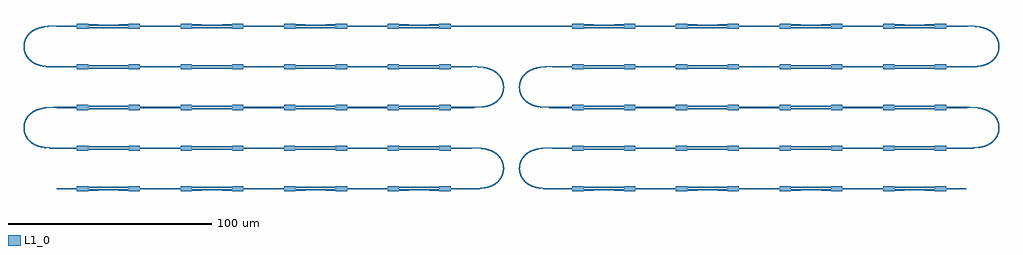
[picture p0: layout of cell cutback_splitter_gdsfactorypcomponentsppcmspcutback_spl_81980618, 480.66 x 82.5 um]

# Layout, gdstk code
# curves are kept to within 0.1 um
from math import pi, radians
import gdstk
lib = gdstk.Library(unit=1e-6, precision=1e-09)
def R(c, l, rs):  # rectangles x0, y0, x1, y1
    for r in rs: c.add(gdstk.rectangle(r[:2], r[2:], *l))
def P(c, l, *ps):  # polygons
    for p in ps: c.add(gdstk.Polygon(p, *l))
L1_0 = (1, 0)

mmi1x2_gdsfactorypcompon = lib.new_cell('mmi1x2_gdsfactorypcomponentspmmispmmi1x2_WNone_WT1_LT10_1f097353')
P(mmi1x2_gdsfactorypcompon, L1_0, [(0,-1.25),(0,-0.5),(-10,-0.25),(-10,0.25),(0,0.5),(0,1.25),(5.5,1.25),(5.5,1.125),(15.5,0.875),(15.5,0.375),(5.5,0.125),(5.5,-0.125),(15.5,-0.375),(15.5,-0.875),(5.5,-1.125),(5.5,-1.25)])

bend_euler_gdsfactorypco = lib.new_cell('bend_euler_gdsfactorypcomponentspbendspbend_euler_RNone_4bc9c422')
P(bend_euler_gdsfactorypco, L1_0, [(0,-0.25),(0,0.25),(4.503,0.368),(6.214,0.563),(7.73,0.858),(9.845,1.539),(11.655,2.481),(12.614,3.182),(13.475,3.996),(14.121,4.779),(14.755,5.779),(15.188,6.697),(15.556,7.822),(15.77,8.987),(15.828,10),(15.77,11.013),(15.556,12.178),(15.188,13.303),(14.755,14.221),(14.121,15.221),(13.475,16.004),(12.614,16.818),(11.655,17.519),(9.845,18.461),(7.73,19.142),(6.214,19.437),(4.503,19.632),(0,19.75),(0,20.25),(4.192,20.156),(7.158,19.779),(8.531,19.447),(9.707,19.055),(10.844,18.555),(12.075,17.842),(13.594,16.602),(14.73,15.224),(15.583,13.655),(16.122,11.953),(16.267,11.071),(16.328,10),(16.157,8.222),(15.893,7.183),(15.583,6.345),(14.73,4.776),(13.594,3.398),(12.368,2.361),(10.844,1.445),(9.207,0.765),(7.331,0.256),(5.417,-0.047),(2.967,-0.217)])

straight_gdsfactorypcomp = lib.new_cell('straight_gdsfactorypcomponentspwaveguidespstraight_L20__31a8c163')
R(straight_gdsfactorypcomp, L1_0, [(0,-0.25,20,0.25)])

cutback_splitter_gdsfact = lib.new_cell('cutback_splitter_gdsfactorypcomponentsppcmspcutback_spl_81980618')
cutback_splitter_gdsfact.add(gdstk.Reference(mmi1x2_gdsfactorypcompon, (0,0)))
cutback_splitter_gdsfact.add(gdstk.Reference(mmi1x2_gdsfactorypcompon, (31,0), rotation=pi))
cutback_splitter_gdsfact.add(gdstk.Reference(mmi1x2_gdsfactorypcompon, (51,0)))
cutback_splitter_gdsfact.add(gdstk.Reference(mmi1x2_gdsfactorypcompon, (82,0), rotation=pi))
cutback_splitter_gdsfact.add(gdstk.Reference(mmi1x2_gdsfactorypcompon, (102,0)))
cutback_splitter_gdsfact.add(gdstk.Reference(mmi1x2_gdsfactorypcompon, (133,0), rotation=pi))
cutback_splitter_gdsfact.add(gdstk.Reference(mmi1x2_gdsfactorypcompon, (153,0)))
cutback_splitter_gdsfact.add(gdstk.Reference(mmi1x2_gdsfactorypcompon, (184,0), rotation=pi))
cutback_splitter_gdsfact.add(gdstk.Reference(bend_euler_gdsfactorypco, (194,0)))
cutback_splitter_gdsfact.add(gdstk.Reference(mmi1x2_gdsfactorypcompon, (184,20), rotation=pi))
cutback_splitter_gdsfact.add(gdstk.Reference(mmi1x2_gdsfactorypcompon, (153,20)))
cutback_splitter_gdsfact.add(gdstk.Reference(mmi1x2_gdsfactorypcompon, (133,20), rotation=pi))
cutback_splitter_gdsfact.add(gdstk.Reference(mmi1x2_gdsfactorypcompon, (102,20)))
cutback_splitter_gdsfact.add(gdstk.Reference(mmi1x2_gdsfactorypcompon, (82,20), rotation=pi))
cutback_splitter_gdsfact.add(gdstk.Reference(mmi1x2_gdsfactorypcompon, (51,20)))
cutback_splitter_gdsfact.add(gdstk.Reference(mmi1x2_gdsfactorypcompon, (31,20), rotation=pi))
cutback_splitter_gdsfact.add(gdstk.Reference(mmi1x2_gdsfactorypcompon, (0,20)))
cutback_splitter_gdsfact.add(gdstk.Reference(bend_euler_gdsfactorypco, (-10,40), rotation=pi))
cutback_splitter_gdsfact.add(gdstk.Reference(mmi1x2_gdsfactorypcompon, (0,40)))
cutback_splitter_gdsfact.add(gdstk.Reference(mmi1x2_gdsfactorypcompon, (31,40), rotation=pi))
cutback_splitter_gdsfact.add(gdstk.Reference(mmi1x2_gdsfactorypcompon, (51,40)))
cutback_splitter_gdsfact.add(gdstk.Reference(mmi1x2_gdsfactorypcompon, (82,40), rotation=pi))
cutback_splitter_gdsfact.add(gdstk.Reference(mmi1x2_gdsfactorypcompon, (102,40)))
cutback_splitter_gdsfact.add(gdstk.Reference(mmi1x2_gdsfactorypcompon, (133,40), rotation=pi))
cutback_splitter_gdsfact.add(gdstk.Reference(mmi1x2_gdsfactorypcompon, (153,40)))
cutback_splitter_gdsfact.add(gdstk.Reference(mmi1x2_gdsfactorypcompon, (184,40), rotation=pi))
cutback_splitter_gdsfact.add(gdstk.Reference(bend_euler_gdsfactorypco, (194,40)))
cutback_splitter_gdsfact.add(gdstk.Reference(mmi1x2_gdsfactorypcompon, (184,60), rotation=pi))
cutback_splitter_gdsfact.add(gdstk.Reference(mmi1x2_gdsfactorypcompon, (153,60)))
cutback_splitter_gdsfact.add(gdstk.Reference(mmi1x2_gdsfactorypcompon, (133,60), rotation=pi))
cutback_splitter_gdsfact.add(gdstk.Reference(mmi1x2_gdsfactorypcompon, (102,60)))
cutback_splitter_gdsfact.add(gdstk.Reference(mmi1x2_gdsfactorypcompon, (82,60), rotation=pi))
cutback_splitter_gdsfact.add(gdstk.Reference(mmi1x2_gdsfactorypcompon, (51,60)))
cutback_splitter_gdsfact.add(gdstk.Reference(mmi1x2_gdsfactorypcompon, (31,60), rotation=pi))
cutback_splitter_gdsfact.add(gdstk.Reference(mmi1x2_gdsfactorypcompon, (0,60)))
cutback_splitter_gdsfact.add(gdstk.Reference(bend_euler_gdsfactorypco, (-10,80), rotation=pi))
cutback_splitter_gdsfact.add(gdstk.Reference(mmi1x2_gdsfactorypcompon, (0,80)))
cutback_splitter_gdsfact.add(gdstk.Reference(mmi1x2_gdsfactorypcompon, (31,80), rotation=pi))
cutback_splitter_gdsfact.add(gdstk.Reference(mmi1x2_gdsfactorypcompon, (51,80)))
cutback_splitter_gdsfact.add(gdstk.Reference(mmi1x2_gdsfactorypcompon, (82,80), rotation=pi))
cutback_splitter_gdsfact.add(gdstk.Reference(mmi1x2_gdsfactorypcompon, (102,80)))
cutback_splitter_gdsfact.add(gdstk.Reference(mmi1x2_gdsfactorypcompon, (133,80), rotation=pi))
cutback_splitter_gdsfact.add(gdstk.Reference(mmi1x2_gdsfactorypcompon, (153,80)))
cutback_splitter_gdsfact.add(gdstk.Reference(mmi1x2_gdsfactorypcompon, (184,80), rotation=pi))
cutback_splitter_gdsfact.add(gdstk.Reference(straight_gdsfactorypcomp, (194,80)))
cutback_splitter_gdsfact.add(gdstk.Reference(straight_gdsfactorypcomp, (234,80), rotation=pi))
cutback_splitter_gdsfact.add(gdstk.Reference(mmi1x2_gdsfactorypcompon, (244,80)))
cutback_splitter_gdsfact.add(gdstk.Reference(mmi1x2_gdsfactorypcompon, (275,80), rotation=pi))
cutback_splitter_gdsfact.add(gdstk.Reference(mmi1x2_gdsfactorypcompon, (295,80)))
cutback_splitter_gdsfact.add(gdstk.Reference(mmi1x2_gdsfactorypcompon, (326,80), rotation=pi))
cutback_splitter_gdsfact.add(gdstk.Reference(mmi1x2_gdsfactorypcompon, (346,80)))
cutback_splitter_gdsfact.add(gdstk.Reference(mmi1x2_gdsfactorypcompon, (377,80), rotation=pi))
cutback_splitter_gdsfact.add(gdstk.Reference(mmi1x2_gdsfactorypcompon, (397,80)))
cutback_splitter_gdsfact.add(gdstk.Reference(mmi1x2_gdsfactorypcompon, (428,80), rotation=pi))
cutback_splitter_gdsfact.add(gdstk.Reference(bend_euler_gdsfactorypco, (438,60)))
cutback_splitter_gdsfact.add(gdstk.Reference(mmi1x2_gdsfactorypcompon, (428,60), rotation=pi))
cutback_splitter_gdsfact.add(gdstk.Reference(mmi1x2_gdsfactorypcompon, (397,60)))
cutback_splitter_gdsfact.add(gdstk.Reference(mmi1x2_gdsfactorypcompon, (377,60), rotation=pi))
cutback_splitter_gdsfact.add(gdstk.Reference(mmi1x2_gdsfactorypcompon, (346,60)))
cutback_splitter_gdsfact.add(gdstk.Reference(mmi1x2_gdsfactorypcompon, (326,60), rotation=pi))
cutback_splitter_gdsfact.add(gdstk.Reference(mmi1x2_gdsfactorypcompon, (295,60)))
cutback_splitter_gdsfact.add(gdstk.Reference(mmi1x2_gdsfactorypcompon, (275,60), rotation=pi))
cutback_splitter_gdsfact.add(gdstk.Reference(mmi1x2_gdsfactorypcompon, (244,60)))
cutback_splitter_gdsfact.add(gdstk.Reference(bend_euler_gdsfactorypco, (234,60), rotation=pi))
cutback_splitter_gdsfact.add(gdstk.Reference(mmi1x2_gdsfactorypcompon, (244,40)))
cutback_splitter_gdsfact.add(gdstk.Reference(mmi1x2_gdsfactorypcompon, (275,40), rotation=pi))
cutback_splitter_gdsfact.add(gdstk.Reference(mmi1x2_gdsfactorypcompon, (295,40)))
cutback_splitter_gdsfact.add(gdstk.Reference(mmi1x2_gdsfactorypcompon, (326,40), rotation=pi))
cutback_splitter_gdsfact.add(gdstk.Reference(mmi1x2_gdsfactorypcompon, (346,40)))
cutback_splitter_gdsfact.add(gdstk.Reference(mmi1x2_gdsfactorypcompon, (377,40), rotation=pi))
cutback_splitter_gdsfact.add(gdstk.Reference(mmi1x2_gdsfactorypcompon, (397,40)))
cutback_splitter_gdsfact.add(gdstk.Reference(mmi1x2_gdsfactorypcompon, (428,40), rotation=pi))
cutback_splitter_gdsfact.add(gdstk.Reference(bend_euler_gdsfactorypco, (438,20)))
cutback_splitter_gdsfact.add(gdstk.Reference(mmi1x2_gdsfactorypcompon, (428,20), rotation=pi))
cutback_splitter_gdsfact.add(gdstk.Reference(mmi1x2_gdsfactorypcompon, (397,20)))
cutback_splitter_gdsfact.add(gdstk.Reference(mmi1x2_gdsfactorypcompon, (377,20), rotation=pi))
cutback_splitter_gdsfact.add(gdstk.Reference(mmi1x2_gdsfactorypcompon, (346,20)))
cutback_splitter_gdsfact.add(gdstk.Reference(mmi1x2_gdsfactorypcompon, (326,20), rotation=pi))
cutback_splitter_gdsfact.add(gdstk.Reference(mmi1x2_gdsfactorypcompon, (295,20)))
cutback_splitter_gdsfact.add(gdstk.Reference(mmi1x2_gdsfactorypcompon, (275,20), rotation=pi))
cutback_splitter_gdsfact.add(gdstk.Reference(mmi1x2_gdsfactorypcompon, (244,20)))
cutback_splitter_gdsfact.add(gdstk.Reference(bend_euler_gdsfactorypco, (234,20), rotation=pi))
cutback_splitter_gdsfact.add(gdstk.Reference(mmi1x2_gdsfactorypcompon, (244,0)))
cutback_splitter_gdsfact.add(gdstk.Reference(mmi1x2_gdsfactorypcompon, (275,0), rotation=pi))
cutback_splitter_gdsfact.add(gdstk.Reference(mmi1x2_gdsfactorypcompon, (295,0)))
cutback_splitter_gdsfact.add(gdstk.Reference(mmi1x2_gdsfactorypcompon, (326,0), rotation=pi))
cutback_splitter_gdsfact.add(gdstk.Reference(mmi1x2_gdsfactorypcompon, (346,0)))
cutback_splitter_gdsfact.add(gdstk.Reference(mmi1x2_gdsfactorypcompon, (377,0), rotation=pi))
cutback_splitter_gdsfact.add(gdstk.Reference(mmi1x2_gdsfactorypcompon, (397,0)))
cutback_splitter_gdsfact.add(gdstk.Reference(mmi1x2_gdsfactorypcompon, (428,0), rotation=pi))

lib.write_gds('cutback_splitter_gdsfactorypcomponentsppcmspcutback_spl_81980618.gds')
